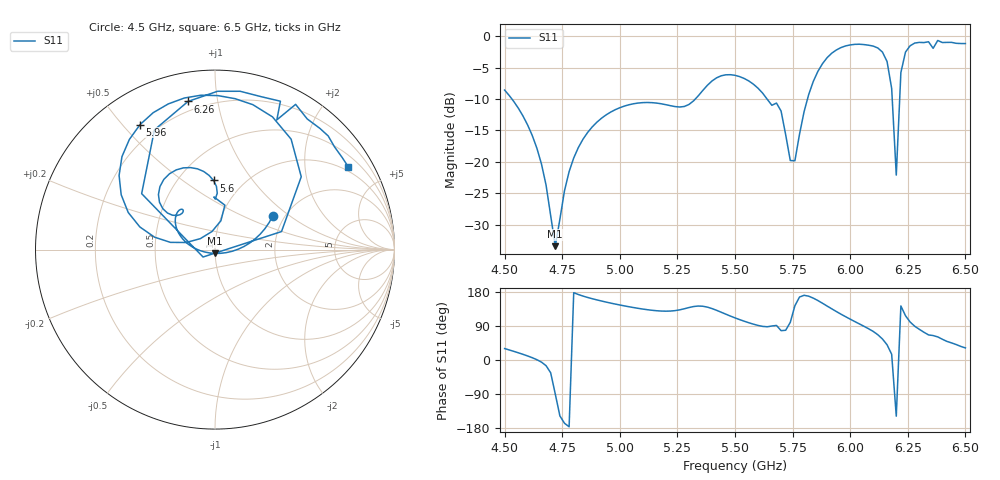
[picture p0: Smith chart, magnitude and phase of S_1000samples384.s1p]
! TOUCHSTONE file generated by CST MICROWAVE STUDIO
! Date and time: Thu Oct 27 23:48:03 2022
! Project name: L.cst
! Parameters = {Di=1.27; Epsilon_r=1.56; InnerDiameter=1.27; Length=2; Lf=10; Lg=60; OuterConductorThickness=0.2921; OuterDiameter=3.6; Wf=3; Wp=41.2; de=1.5; df=6.8; g=0.8; gx=2.42508; gy=1.53322; h=2.34; hf=1.524; px=14.7374; py=8.85167; w=9.7; wx=12.3123; wy=7.31845}
! Header version: 2018
! Port assignment regex: !\s*Touchstone port\s*([0-9]+)\s*=\s*(CST MWS port|CST DS port)\s*([0-9]+|Zmin|Zmax)\s*\(\"(.*)\"\)(\s*mode\s*([0-9]+))?.*
! Touchstone port assignment:
! Touchstone port 1 = CST MWS port 1 ("")
# GHz S DB R 50
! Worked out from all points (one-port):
!   101 points, 4.5 GHz to 6.5 GHz, reference 50 ohm
!   lowest |S11| = -33.4 dB at 4.72 GHz (marker M1), VSWR 1.04, Z = 50 - j2.13 ohm
!   |S11| at or under -10 dB: 4.532 GHz to 5.328 GHz (796.1 MHz wide, 16.1 % of centre); 5.639 GHz to 5.815 GHz (175.7 MHz wide, 3.07 % of centre); 6.182 GHz to 6.215 GHz (32.4 MHz wide, 0.523 % of centre)
!   S11 on the Smith chart (normalised r, x): 4.5 GHz: 1.74, +0.76; 5.6 GHz: 0.73, +0.66; 5.96 GHz: 0.14, +0.56; 6.26 GHz: 0.15, +0.82; 6.5 GHz: 0.84, +3.30
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4.5  -8.58 30.2
4.64  -17.83 0.9
4.68  -23.73 -15.0
4.72  -33.45 -90.1
4.76  -24.60 -166.9
4.84  -16.42 168.7
5  -11.39 145.2
5.26  -11.28 132.4
5.4  -7.14 135.8
5.5  -6.23 111.2
5.6  -8.28 91.2
5.7  -11.92 77.4
5.74  -19.81 99.4
5.76  -19.84 143.2
5.8  -11.99 170.8
5.84  -7.18 163.2
5.9  -3.41 142.3
5.96  -1.81 120.9
6  -1.39 107.8
6.1  -1.57 75.4
6.16  -4.03 40.2
6.18  -8.32 15.2
6.2  -22.13 -148.2
6.22  -5.78 142.7
6.24  -2.53 116.8
6.26  -1.52 100.3
6.34  -0.88 66.2
6.5  -1.17 31.9
